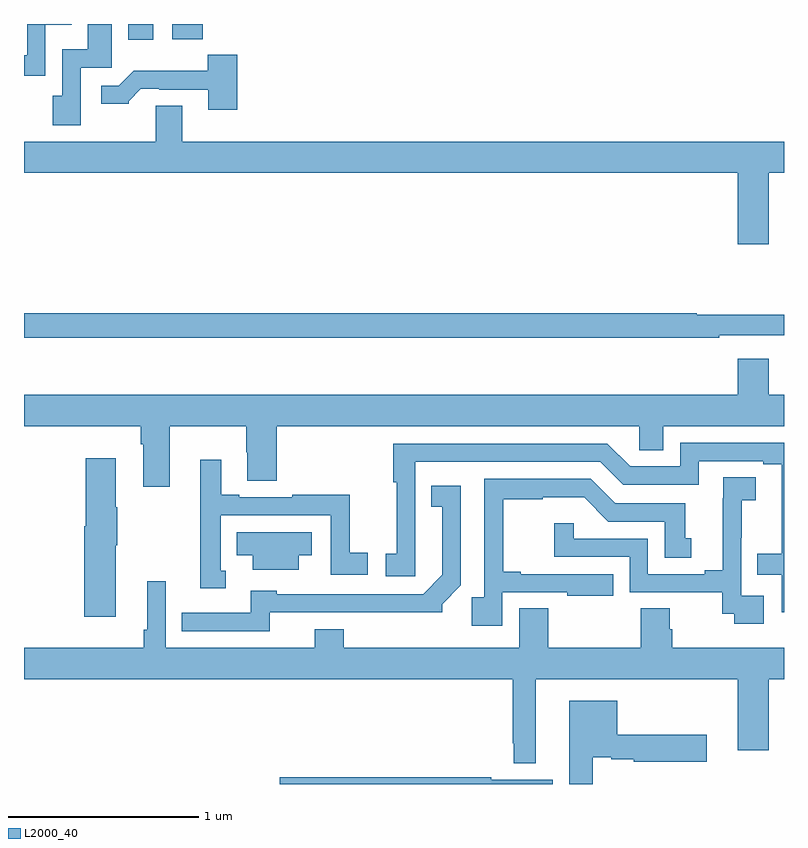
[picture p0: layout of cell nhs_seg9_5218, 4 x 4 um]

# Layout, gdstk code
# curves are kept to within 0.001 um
import gdstk
lib = gdstk.Library(unit=1e-6, precision=1e-09)
def R(c, l, rs):  # rectangles x0, y0, x1, y1
    for r in rs: c.add(gdstk.rectangle(r[:2], r[2:], *l))
def P(c, l, *ps):  # polygons
    for p in ps: c.add(gdstk.Polygon(p, *l))
L2000_40 = (2000, 40)

nhs_seg9_5218 = lib.new_cell('nhs_seg9_5218')
R(nhs_seg9_5218, L2000_40, [(413.549,1234.416,413.68,1234.5), (413.78,1234.421,413.942,1234.5)])
P(nhs_seg9_5218, L2000_40, [(413.298,1234.269),(413.461,1234.269),(413.461,1234.5),(413.336,1234.5),(413.336,1234.366),(413.202,1234.366),(413.202,1234.122),(413.15,1234.122),(413.15,1233.966),(413.298,1233.966)],
  [(413.112,1234.496),(413.251,1234.496),(413.251,1234.5),(413.016,1234.5),(413.016,1234.335),(413,1234.335),(413,1234.227),(413.112,1234.227)],
  [(414.122,1234.339),(413.967,1234.339),(413.967,1234.255),(413.578,1234.255),(413.499,1234.176),(413.406,1234.176),(413.406,1234.079),(413.55,1234.079),(413.55,1234.094),(413.614,1234.158),(413.713,1234.158),(413.713,1234.155),(413.969,1234.155),(413.969,1234.05),(414.122,1234.05)],
  [(416.92,1233.716),(417,1233.716),(417,1233.88),(413.833,1233.88),(413.833,1234.07),(413.693,1234.07),(413.693,1233.88),(413,1233.88),(413,1233.716),(416.756,1233.716),(416.756,1233.342),(416.92,1233.342)],
  [(416.66,1232.862),(417,1232.862),(417,1232.971),(416.54,1232.971),(416.54,1232.978),(413,1232.978),(413,1232.85),(416.66,1232.85)],
  [(413.767,1232.384),(414.169,1232.384),(414.169,1232.246),(414.176,1232.246),(414.176,1232.095),(414.329,1232.095),(414.329,1232.384),(416.238,1232.384),(416.238,1232.257),(416.365,1232.257),(416.365,1232.384),(417,1232.384),(417,1232.548),(416.92,1232.548),(416.92,1232.737),(416.756,1232.737),(416.756,1232.548),(413,1232.548),(413,1232.384),(413.615,1232.384),(413.615,1232.288),(413.627,1232.288),(413.627,1232.064),(413.767,1232.064)],
  [(417,1232.295),(416.454,1232.295),(416.454,1232.172),(416.19,1232.172),(416.07,1232.292),(414.943,1232.292),(414.943,1232.089),(414.961,1232.089),(414.961,1231.713),(414.903,1231.713),(414.903,1231.593),(415.06,1231.593),(415.059,1232.196),(416.034,1232.196),(416.154,1232.076),(416.55,1232.076),(416.55,1232.199),(416.891,1232.199),(416.891,1232.184),(416.987,1232.184),(416.987,1231.711),(416.86,1231.711),(416.86,1231.602),(416.988,1231.602),(416.988,1231.404),(417,1231.404)],
  [(413.482,1231.757),(413.49,1231.757),(413.49,1231.957),(413.482,1231.957),(413.482,1232.215),(413.324,1232.215),(413.324,1231.857),(413.318,1231.857),(413.318,1231.38),(413.482,1231.38)],
  [(414.061,1231.623),(414.036,1231.623),(414.036,1231.914),(414.615,1231.914),(414.615,1231.602),(414.808,1231.602),(414.808,1231.718),(414.714,1231.718),(414.714,1232.023),(414.412,1232.023),(414.412,1232.01),(414.133,1232.01),(414.133,1232.023),(414.037,1232.023),(414.037,1232.206),(413.927,1232.206),(413.927,1231.961),(413.928,1231.961),(413.928,1231.529),(414.061,1231.529)],
  [(416.893,1231.491),(416.775,1231.491),(416.775,1231.795),(416.777,1231.795),(416.777,1231.993),(416.851,1231.993),(416.851,1232.114),(416.68,1232.114),(416.68,1232.003),(416.678,1232.003),(416.678,1231.625),(416.582,1231.625),(416.582,1231.605),(416.283,1231.605),(416.283,1231.791),(415.893,1231.791),(415.893,1231.873),(415.792,1231.873),(415.792,1231.695),(416.187,1231.695),(416.187,1231.509),(416.674,1231.509),(416.674,1231.395),(416.737,1231.395),(416.737,1231.344),(416.893,1231.344)],
  [(415.518,1231.509),(415.859,1231.509),(415.859,1231.49),(416.102,1231.49),(416.102,1231.605),(415.615,1231.605),(415.615,1231.618),(415.523,1231.618),(415.523,1231.998),(415.73,1231.998),(415.73,1232.009),(415.948,1232.009),(416.076,1231.881),(416.372,1231.881),(416.372,1231.69),(416.512,1231.69),(416.512,1231.794),(416.479,1231.794),(416.479,1231.977),(416.112,1231.977),(415.983,1232.106),(415.422,1232.106),(415.422,1231.483),(415.357,1231.483),(415.357,1231.332),(415.518,1231.332)],
  [(414.294,1231.404),(415.2,1231.403),(415.2,1231.447),(415.299,1231.546),(415.299,1232.071),(415.144,1232.071),(415.144,1231.958),(415.202,1231.958),(415.202,1231.601),(415.101,1231.5),(414.33,1231.5),(414.33,1231.516),(414.194,1231.516),(414.194,1231.401),(413.83,1231.401),(413.83,1231.305),(414.294,1231.305)],
  [(414.445,1231.703),(414.514,1231.703),(414.514,1231.825),(414.121,1231.825),(414.121,1231.703),(414.203,1231.703),(414.203,1231.628),(414.445,1231.628)],
  [(415.693,1231.052),(416.756,1231.052),(416.756,1230.678),(416.92,1230.678),(416.92,1231.052),(417,1231.052),(417,1231.216),(416.411,1231.216),(416.411,1231.314),(416.398,1231.314),(416.398,1231.424),(416.246,1231.424),(416.246,1231.216),(415.76,1231.216),(415.76,1231.424),(415.607,1231.424),(415.607,1231.216),(414.683,1231.216),(414.683,1231.315),(414.53,1231.315),(414.53,1231.216),(413.745,1231.216),(413.745,1231.567),(413.648,1231.567),(413.648,1231.312),(413.629,1231.312),(413.629,1231.216),(413,1231.216),(413,1231.052),(415.572,1231.052),(415.572,1230.715),(415.578,1230.715),(415.578,1230.608),(415.693,1230.608)],
  [(415.993,1230.641),(416.09,1230.641),(416.09,1230.629),(416.208,1230.629),(416.208,1230.617),(416.593,1230.617),(416.593,1230.759),(416.122,1230.759),(416.122,1230.937),(415.871,1230.937),(415.871,1230.5),(415.993,1230.5)],
  [(415.783,1230.523),(415.46,1230.523),(415.46,1230.536),(414.347,1230.536),(414.347,1230.5),(415.783,1230.5)])

lib.write_gds('nhs_seg9_5218.gds')
